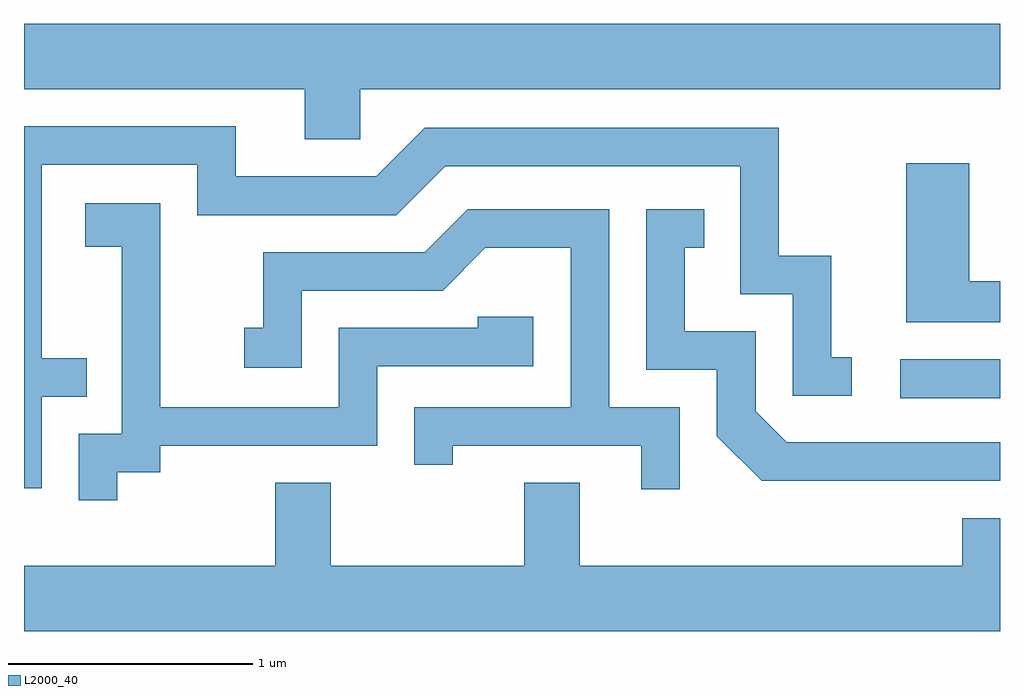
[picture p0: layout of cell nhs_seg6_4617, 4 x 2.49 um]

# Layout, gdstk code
import gdstk
lib = gdstk.Library(unit=1e-6, precision=1e-09)
def R(c, l, rs):  # rectangles x0, y0, x1, y1
    for r in rs: c.add(gdstk.rectangle(r[:2], r[2:], *l))
def P(c, l, *ps):  # polygons
    for p in ps: c.add(gdstk.Polygon(p, *l))
L2000_40 = (2000, 40)

nhs_seg6_4617 = lib.new_cell('nhs_seg6_4617')
R(nhs_seg6_4617, L2000_40, [(329.203,1644.231,329.611,1644.389)])
P(nhs_seg6_4617, L2000_40, [(326.989,1645.496),(329.611,1645.496),(329.611,1645.764),(325.611,1645.764),(325.611,1645.496),(326.761,1645.496),(326.761,1645.291),(326.989,1645.291)],
  [(325.684,1644.236),(325.868,1644.236),(325.868,1644.394),(325.684,1644.394),(325.684,1645.186),(326.321,1645.186),(326.321,1644.981),(327.137,1644.981),(327.337,1645.181),(328.546,1645.181),(328.546,1644.656),(328.761,1644.656),(328.761,1644.241),(329.003,1644.241),(329.003,1644.399),(328.919,1644.399),(328.919,1644.814),(328.704,1644.814),(328.704,1645.339),(327.254,1645.339),(327.054,1645.139),(326.479,1645.139),(326.479,1645.344),(325.611,1645.344),(325.611,1643.861),(325.684,1643.861)],
  [(329.611,1644.709),(329.484,1644.709),(329.484,1645.194),(329.226,1645.194),(329.226,1644.541),(329.611,1644.541)],
  [(325.994,1643.926),(326.169,1643.926),(326.169,1644.036),(327.059,1644.036),(327.059,1644.361),(327.699,1644.361),(327.699,1644.564),(327.471,1644.564),(327.471,1644.519),(326.901,1644.519),(326.901,1644.194),(326.169,1644.194),(326.169,1645.029),(325.861,1645.029),(325.861,1644.851),(326.011,1644.851),(326.011,1644.084),(325.836,1644.084),(325.836,1643.813),(325.994,1643.813)],
  [(328.299,1644.194),(328.009,1644.194),(328.009,1645.004),(327.429,1645.004),(327.254,1644.829),(326.591,1644.829),(326.591,1644.519),(326.513,1644.519),(326.513,1644.356),(326.749,1644.356),(326.749,1644.671),(327.327,1644.671),(327.502,1644.846),(327.851,1644.846),(327.851,1644.194),(327.211,1644.194),(327.211,1643.958),(327.369,1643.958),(327.369,1644.036),(328.141,1644.036),(328.141,1643.858),(328.299,1643.858)],
  [(329.611,1644.049),(328.737,1644.049),(328.609,1644.177),(328.609,1644.504),(328.319,1644.504),(328.319,1644.846),(328.398,1644.846),(328.398,1645.004),(328.161,1645.004),(328.161,1644.346),(328.451,1644.346),(328.451,1644.074),(328.634,1643.891),(329.611,1643.891)],
  [(329.611,1643.739),(329.456,1643.739),(329.456,1643.544),(327.889,1643.544),(327.889,1643.884),(327.661,1643.884),(327.661,1643.544),(326.869,1643.544),(326.869,1643.884),(326.641,1643.884),(326.641,1643.544),(325.611,1643.544),(325.611,1643.276),(329.611,1643.276)])

lib.write_gds('nhs_seg6_4617.gds')
